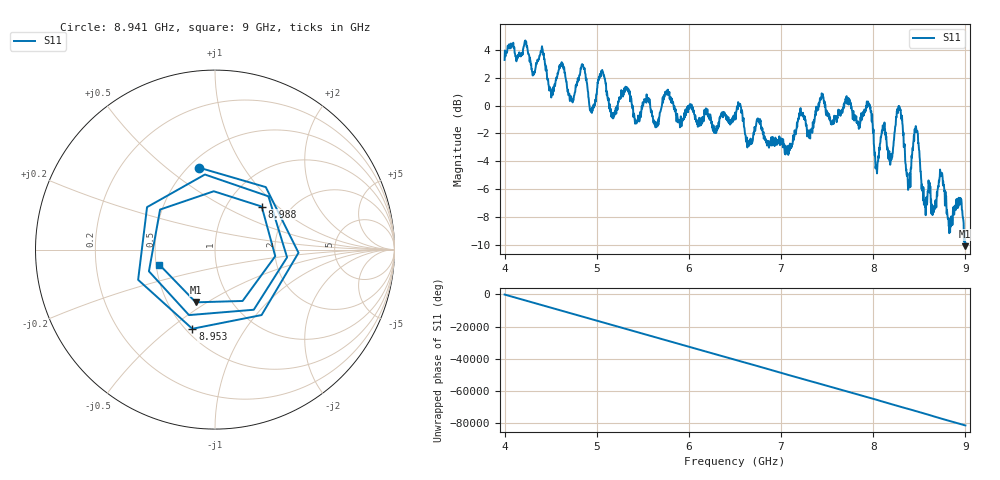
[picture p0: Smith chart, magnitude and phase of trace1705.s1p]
! Created with skrf 1.8.0 (http://scikit-rf.org).
# Hz S RI R 50.0
!freq ReS11 ImS11
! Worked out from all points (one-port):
!   1601 points, 4 GHz to 9 GHz, reference 50 ohm
!   lowest |S11| = -10.1 dB at 8.997 GHz (marker M1), VSWR 1.91, Z = 34.4 - j22.4 ohm
!   |S11| at or under -10 dB: 8.99612 GHz to 8.998216 GHz (2.096 MHz wide, 0.0233 % of centre)
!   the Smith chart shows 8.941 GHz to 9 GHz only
!   S11 on the Smith chart (normalised r, x): 8.941 GHz: 0.56, +0.65; 8.953 GHz: 0.54, -0.60; 8.988 GHz: 1.45, +0.79; 9 GHz: 0.52, -0.10
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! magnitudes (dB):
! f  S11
! 4 GHz  3.3
! 4.406 GHz  4.3
! 4.509 GHz  0.7
! 4.625 GHz  3.0
! 4.725 GHz  0.4
! 4.847 GHz  2.9
! 4.944 GHz  -0.5
! 5.056 GHz  2.4
! 5.162 GHz  -0.7
! 5.25 GHz  0.5
! 5.875 GHz  -0.8
! 6.5 GHz  -0.5
! 7.125 GHz  -2.8
! 7.441 GHz  0.9
! 7.75 GHz  0.2
! 7.953 GHz  0.1
! 8.038 GHz  -4.6
! 8.109 GHz  -1.5
! 8.191 GHz  -3.8
! 8.288 GHz  -0.1
! 8.375 GHz  -5.4
! 8.466 GHz  -1.6
! 8.559 GHz  -6.9
! 8.941 GHz  -6.6
! 8.953 GHz  -6.8
! 8.988 GHz  -9.0
! 8.997 GHz  -10.1
! 9 GHz  -9.9
